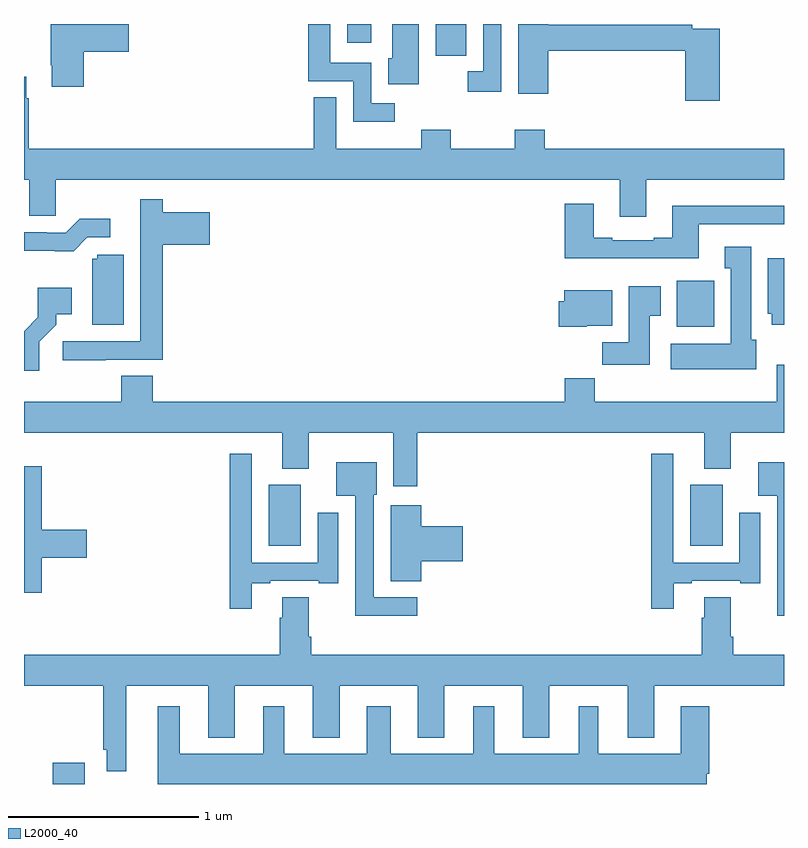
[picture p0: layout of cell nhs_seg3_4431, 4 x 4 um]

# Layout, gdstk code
import gdstk
lib = gdstk.Library(unit=1e-6, precision=1e-09)
def R(c, l, rs):  # rectangles x0, y0, x1, y1
    for r in rs: c.add(gdstk.rectangle(r[:2], r[2:], *l))
def P(c, l, *ps):  # polygons
    for p in ps: c.add(gdstk.Polygon(p, *l))
L2000_40 = (2000, 40)

nhs_seg3_4431 = lib.new_cell('nhs_seg3_4431')
R(nhs_seg3_4431, L2000_40, [(347.15,700.4,347.32,700.513), (348.287,701.654,348.457,701.974), (350.507,701.654,350.677,701.974), (350.435,702.806,350.632,703.048), (349.166,704.232,349.327,704.4), (348.701,704.301,348.828,704.4)])
P(nhs_seg3_4431, L2000_40, [(348.952,703.983),(348.828,703.983),(348.828,704.196),(348.613,704.196),(348.613,704.4),(348.495,704.4),(348.495,704.1),(348.732,704.1),(348.732,703.886),(348.952,703.886)],
  [(350.663,704.376),(350.516,704.376),(350.516,704.396),(349.76,704.396),(349.76,704.4),(349.601,704.4),(349.601,704.034),(349.76,704.034),(349.76,704.26),(350.48,704.26),(350.48,703.995),(350.663,703.995)],
  [(349.512,704.4),(349.416,704.4),(349.416,704.151),(349.335,704.151),(349.335,704.043),(349.512,704.043)],
  [(347.315,704.255),(347.551,704.255),(347.551,704.4),(347.14,704.4),(347.14,704.182),(347.147,704.182),(347.147,704.07),(347.315,704.07)],
  [(349.078,704.4),(348.938,704.4),(348.938,704.22),(348.917,704.22),(348.917,704.084),(349.078,704.084)],
  [(350.275,703.58),(351,703.58),(351,703.744),(349.742,703.744),(349.742,703.843),(349.582,703.843),(349.582,703.744),(349.245,703.744),(349.245,703.843),(349.09,703.843),(349.09,703.744),(348.643,703.744),(348.643,704.015),(348.525,704.015),(348.525,703.744),(347.024,703.744),(347.024,704.009),(347.011,704.009),(347.011,704.122),(347,704.122),(347,703.58),(347.027,703.58),(347.027,703.39),(347.166,703.39),(347.166,703.58),(350.135,703.58),(350.135,703.386),(350.275,703.386)],
  [(347.429,702.633),(347.729,702.633),(347.729,703.238),(347.977,703.238),(347.977,703.408),(347.729,703.408),(347.729,703.477),(347.612,703.477),(347.612,703.254),(347.613,703.254),(347.613,702.729),(347.205,702.729),(347.205,702.631),(347.429,702.631)],
  [(350.551,703.347),(351,703.347),(351,703.444),(350.411,703.444),(350.411,703.276),(350.315,703.276),(350.315,703.263),(350.095,703.263),(350.095,703.276),(349.999,703.276),(349.999,703.453),(349.847,703.453),(349.847,703.166),(350.551,703.166)],
  [(347.334,703.278),(347.455,703.278),(347.455,703.375),(347.293,703.375),(347.22,703.302),(347.12,703.302),(347.12,703.305),(347,703.305),(347,703.206),(347.162,703.206),(347.162,703.205),(347.261,703.205)],
  [(350.854,702.738),(350.827,702.738),(350.827,703.228),(350.687,703.228),(350.687,703.115),(350.72,703.115),(350.72,702.718),(350.403,702.718),(350.403,702.584),(350.854,702.584)],
  [(347.524,703.185),(347.385,703.185),(347.385,703.164),(347.36,703.164),(347.36,702.816),(347.524,702.816)],
  [(351,703.168),(350.915,703.168),(350.915,702.876),(350.936,702.876),(350.936,702.816),(351,702.816)],
  [(350.293,702.865),(350.35,702.865),(350.35,703.021),(350.183,703.021),(350.183,702.724),(350.044,702.724),(350.044,702.606),(350.293,702.606)],
  [(347.08,702.727),(347.17,702.817),(347.17,702.872),(347.251,702.872),(347.251,703.012),(347.073,703.012),(347.073,702.857),(347,702.784),(347,702.576),(347.08,702.576)],
  [(349.962,702.812),(350.095,702.812),(350.095,703),(349.844,703),(349.844,702.942),(349.814,702.942),(349.814,702.806),(349.962,702.806)],
  [(349.07,702.248),(350.579,702.248),(350.579,702.059),(350.719,702.059),(350.719,702.248),(351,702.248),(351,702.607),(350.963,702.607),(350.963,702.412),(350.003,702.412),(350.003,702.536),(349.847,702.536),(349.847,702.412),(347.678,702.412),(347.678,702.548),(347.513,702.548),(347.513,702.412),(347,702.412),(347,702.248),(348.359,702.248),(348.359,702.059),(348.499,702.059),(348.499,702.248),(348.944,702.248),(348.944,701.967),(349.07,701.967)],
  [(350.419,701.457),(350.515,701.457),(350.515,701.469),(350.771,701.469),(350.771,701.457),(350.875,701.457),(350.875,701.827),(350.765,701.827),(350.765,701.565),(350.418,701.565),(350.418,702.139),(350.302,702.139),(350.302,701.322),(350.419,701.322)],
  [(348.199,701.457),(348.295,701.457),(348.295,701.469),(348.551,701.469),(348.551,701.457),(348.655,701.457),(348.655,701.827),(348.545,701.827),(348.545,701.565),(348.198,701.565),(348.198,702.139),(348.082,702.139),(348.082,701.322),(348.199,701.322)],
  [(349.069,701.382),(348.84,701.382),(348.84,701.922),(348.856,701.922),(348.856,702.094),(348.644,702.094),(348.644,701.918),(348.744,701.918),(348.744,701.285),(349.069,701.285)],
  [(351,702.094),(350.864,702.094),(350.864,701.918),(350.964,701.918),(350.964,701.285),(351,701.285)],
  [(347.093,701.591),(347.329,701.591),(347.329,701.738),(347.093,701.738),(347.093,702.073),(347,702.073),(347,701.406),(347.093,701.406)],
  [(349.091,701.573),(349.309,701.573),(349.309,701.756),(349.091,701.756),(349.091,701.866),(348.929,701.866),(348.929,701.467),(349.091,701.467)],
  [(347.539,700.916),(347.969,700.916),(347.969,700.643),(348.109,700.643),(348.109,700.916),(348.521,700.916),(348.521,700.643),(348.661,700.643),(348.661,700.916),(349.073,700.916),(349.073,700.643),(349.213,700.643),(349.213,700.916),(349.625,700.916),(349.625,700.643),(349.765,700.643),(349.765,700.916),(350.177,700.916),(350.177,700.643),(350.317,700.643),(350.317,700.916),(351,700.916),(351,701.08),(350.732,701.08),(350.732,701.176),(350.719,701.176),(350.719,701.384),(350.579,701.384),(350.579,701.276),(350.567,701.276),(350.567,701.08),(348.512,701.08),(348.512,701.176),(348.499,701.176),(348.499,701.384),(348.359,701.384),(348.359,701.276),(348.347,701.276),(348.347,701.08),(347,701.08),(347,700.916),(347.418,700.916),(347.418,700.579),(347.435,700.579),(347.435,700.467),(347.539,700.467)],
  [(350.593,700.454),(350.606,700.454),(350.606,700.81),(350.456,700.81),(350.456,700.558),(350.023,700.558),(350.023,700.81),(349.919,700.81),(349.919,700.558),(349.474,700.558),(349.474,700.81),(349.364,700.81),(349.364,700.558),(348.931,700.558),(348.931,700.81),(348.803,700.81),(348.803,700.558),(348.37,700.558),(348.37,700.81),(348.26,700.81),(348.26,700.558),(347.821,700.558),(347.821,700.81),(347.705,700.81),(347.705,700.4),(350.593,700.4)])

lib.write_gds('nhs_seg3_4431.gds')
